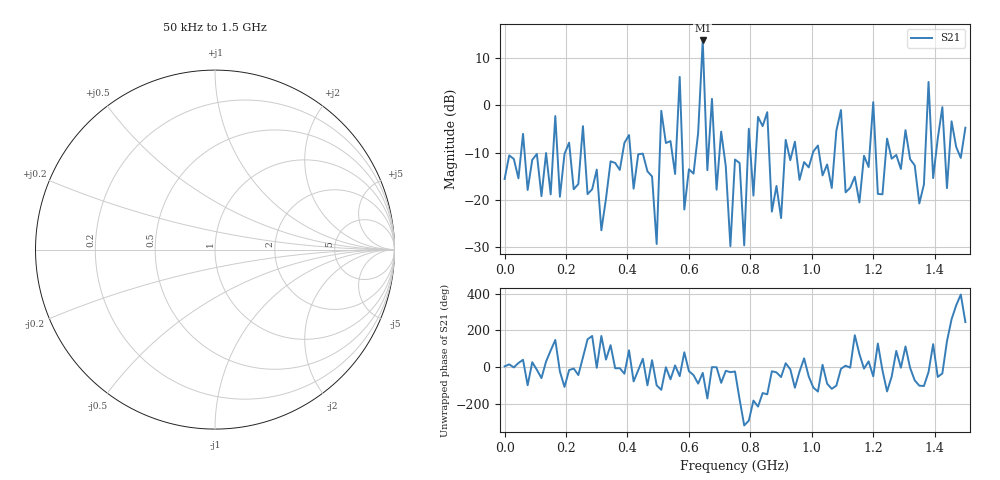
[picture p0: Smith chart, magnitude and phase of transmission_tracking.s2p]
! Created with skrf 1.8.0 (http://scikit-rf.org).
# Hz S RI R 50.0
!freq ReS11 ImS11 ReS21 ImS21 ReS12 ImS12 ReS22 ImS22
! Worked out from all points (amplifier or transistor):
!   101 points, 50 kHz to 1.5 GHz, reference 50 ohm
!   highest |S21| = 13.7 dB at 645 MHz (marker M1)
!   |S21| within 3 dB of that: 642.7 MHz to 646.7 MHz (3.942 MHz wide, 0.611 % of centre)
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50000  0 0  0.1661 0.0107  0 0  0 0
1.650445e8  0 0  -0.648 0.4148  0 0  0 0
2.550415e8  0 0  0.3671 0.4772  0 0  0 0
4.950335e8  0 0  -0.00572 -0.0337  0 0  0 0
5.10033e8  0 0  -0.4904 -0.7238  0 0  0 0
5.550315e8  0 0  0.1857 0.0284  0 0  0 0
5.70031e8  0 0  1.292 -1.522  0 0  0 0
5.850305e8  0 0  0.0134 0.078  0 0  0 0
6.30029e8  0 0  -0.00155 -0.5097  0 0  0 0
6.450285e8  0 0  4.123 -2.543  0 0  0 0
6.60028e8  0 0  -0.2038 -0.0316  0 0  0 0
6.750275e8  0 0  1.17 -0.00891  0 0  0 0
7.350255e8  0 0  0.0286 -0.0152  0 0  0 0
7.50025e8  0 0  0.2435 -0.1096  0 0  0 0
7.80024e8  0 0  0.0246 0.0221  0 0  0 0
1.005016e9  0 0  -0.1202 -0.302  0 0  0 0
1.260008e9  0 0  0.1665 -0.2157  0 0  0 0
1.365004e9  0 0  -0.0334 -0.1415  0 0  0 0
1.380004e9  0 0  1.567 -0.8113  0 0  0 0
1.395004e9  0 0  -0.097 0.1397  0 0  0 0
1.425002e9  0 0  0.7844 -0.5476  0 0  0 0
1.5e9  0 0  -0.2487 -0.5238  0 0  0 0
